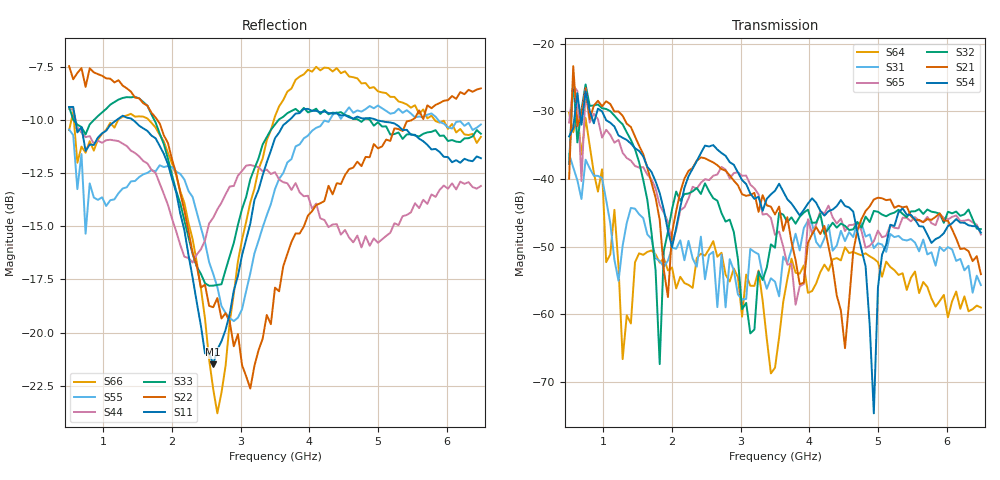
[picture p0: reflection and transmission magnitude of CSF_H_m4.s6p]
!Keysight Technologies,M9804A,MY58100912,A.14.10.03
!Date: Thursday, April 27, 2023 10:28:33
!Correction: S11(C  6-Port  )
!S12(C  6-Port  )
!S13(C  6-Port  )
!S14(C  6-Port  )
!S15(C  6-Port  )
!S16(C  6-Port  )
!S21(C  6-Port  )
!S22(C  6-Port  )
!S23(C  6-Port  )
!S24(C  6-Port  )
!S25(C  6-Port  )
!S26(C  6-Port  )
!S31(C  6-Port  )
!S32(C  6-Port  )
!S33(C  6-Port  )
!S34(C  6-Port  )
!S35(C  6-Port  )
!S36(C  6-Port  )
!S41(C  6-Port  )
!S42(C  6-Port  )
!S43(C  6-Port  )
!S44(C  6-Port  )
!S45(C  6-Port  )
!S46(C  6-Port  )
!S51(C  6-Port  )
!S52(C  6-Port  )
!S53(C  6-Port  )
!S54(C  6-Port  )
!S55(C  6-Port  )
!S56(C  6-Port  )
!S61(C  6-Port  )
!S62(C  6-Port  )
!S63(C  6-Port  )
!S64(C  6-Port  )
!S65(C  6-Port  )
!S66(C  6-Port  )
!S6P File: Measurement: :
# Hz S  RI  R 50
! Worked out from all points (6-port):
!   101 points, 500 MHz to 6.5 GHz, reference 50 ohm
!   strongest paths, dB at 500 MHz, 2 GHz, 3.5 GHz, 5 GHz, 6.5 GHz:
!     S54: -33.7, -50.1, -41.7, -56.0, -47.9
!     S21: -39.9, -47.9, -45.2, -42.8, -54.1
!     S32: -37.8, -44.5, -50.1, -44.8, -47.4
!     S65: -31.7, -49.5, -48.2, -47.6, -48.2
!     S31: -36.3, -50.1, -55.2, -49.5, -55.7
!     S64: -30.2, -53.1, -67.9, -52.3, -59.0
!   lowest |S11| = -21.5 dB at 2.6 GHz (marker M1), VSWR 1.18, Z = 42.5 + j2.14 ohm
!   |S11| at or under -10 dB: 590.5 MHz to 1.196 GHz (605.3 MHz wide, 67.8 % of centre); 1.427 GHz to 3.711 GHz (2.284 GHz wide, 88.9 % of centre); 4.975 GHz to end of sweep
